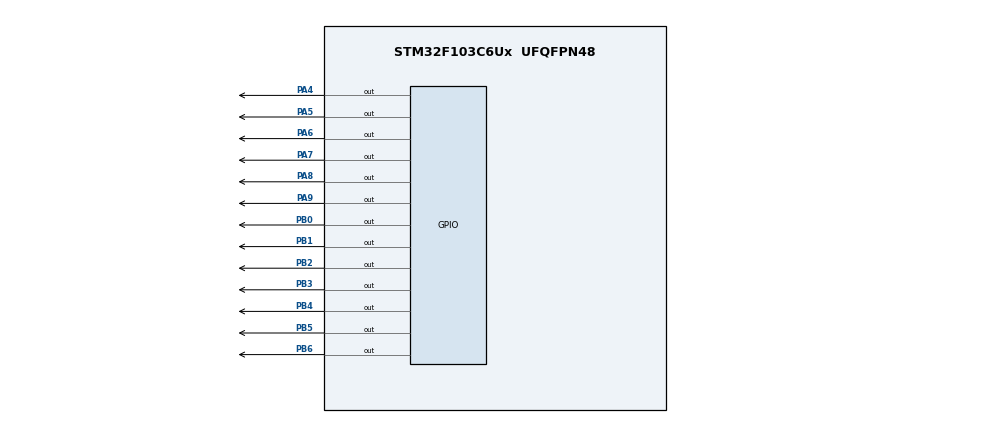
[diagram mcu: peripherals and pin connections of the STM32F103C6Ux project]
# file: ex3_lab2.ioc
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Mcu.Family=STM32F1
Mcu.Name=STM32F103C6Ux
Mcu.Package=UFQFPN48
NVIC.PriorityGroup=NVIC_PRIORITYGROUP_4
NVIC.TIM2_IRQn=true\:0\:0\:false\:false\:true\:true\:true
PA4.Signal=GPIO_Output
PA5.Signal=GPIO_Output
PA6.Signal=GPIO_Output
PA7.Signal=GPIO_Output
PA8.Signal=GPIO_Output
PA9.Signal=GPIO_Output
PB0.Signal=GPIO_Output
PB1.Signal=GPIO_Output
PB2.Signal=GPIO_Output
PB3.Signal=GPIO_Output
PB4.Signal=GPIO_Output
PB5.Signal=GPIO_Output
PB6.Signal=GPIO_Output
ProjectManager.HeapSize=0x200
ProjectManager.StackSize=0x400
ProjectManager.TargetToolchain=STM32CubeIDE
RCC.APB1Freq_Value=8000000
RCC.APB2Freq_Value=8000000
TIM2.Period=9
TIM2.Prescaler=7999
VP_SYS_VS_ND.Mode=No_Debug
VP_TIM2_VS_ClockSourceINT.Mode=Internal
board=custom

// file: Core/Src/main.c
/* USER CODE BEGIN Header */
/**
  ******************************************************************************
  * @file           : main.c
  * @brief          : Main program body
  ******************************************************************************
  * @attention
  *
  * <h2><center>&copy; Copyright (c) 2023 STMicroelectronics.
  * All rights reserved.</center></h2>
  *
  * This software component is licensed by ST under BSD 3-Clause license,
  * the "License"; You may not use this file except in compliance with the
  * License. You may obtain a copy of the License at:
  *                        opensource.org/licenses/BSD-3-Clause
  *
  ******************************************************************************
  */
/* USER CODE END Header */
#include "main.h"

TIM_HandleTypeDef htim2;

void SystemClock_Config(void);
static void MX_GPIO_Init(void);
static void MX_TIM2_Init(void);
void display7SEG(int num);

int main(void)
{

  /* MCU Configuration--------------------------------------------------------*/

  /* Reset of all peripherals, Initializes the Flash interface and the Systick. */
  HAL_Init();

  /* Configure the system clock */
  SystemClock_Config();

  /* Initialize all configured peripherals */
  MX_GPIO_Init();
  MX_TIM2_Init();
  /* USER CODE BEGIN 2 */
HAL_TIM_Base_Start_IT(&htim2);
  /* USER CODE END 2 */

  /* Infinite loop */
  while (1)
  {

  }
}

void SystemClock_Config(void)
{
  RCC_OscInitTypeDef RCC_OscInitStruct = {0};
  RCC_ClkInitTypeDef RCC_ClkInitStruct = {0};

  /** Initializes the RCC Oscillators according to the specified parameters
  * in the RCC_OscInitTypeDef structure.
  */
  RCC_OscInitStruct.OscillatorType = RCC_OSCILLATORTYPE_HSI;
  RCC_OscInitStruct.HSIState = RCC_HSI_ON;
  RCC_OscInitStruct.HSICalibrationValue = RCC_HSICALIBRATION_DEFAULT;
  RCC_OscInitStruct.PLL.PLLState = RCC_PLL_NONE;
  if (HAL_RCC_OscConfig(&RCC_OscInitStruct) != HAL_OK)
  {
    Error_Handler();
  }
  /** Initializes the CPU, AHB and APB buses clocks
  */
  RCC_ClkInitStruct.ClockType = RCC_CLOCKTYPE_HCLK|RCC_CLOCKTYPE_SYSCLK
                              |RCC_CLOCKTYPE_PCLK1|RCC_CLOCKTYPE_PCLK2;
  RCC_ClkInitStruct.SYSCLKSource = RCC_SYSCLKSOURCE_HSI;
  RCC_ClkInitStruct.AHBCLKDivider = RCC_SYSCLK_DIV1;
  RCC_ClkInitStruct.APB1CLKDivider = RCC_HCLK_DIV1;
  RCC_ClkInitStruct.APB2CLKDivider = RCC_HCLK_DIV1;

  if (HAL_RCC_ClockConfig(&RCC_ClkInitStruct, FLASH_LATENCY_0) != HAL_OK)
  {
    Error_Handler();
  }
}

static void MX_TIM2_Init(void)
{

  TIM_ClockConfigTypeDef sClockSourceConfig = {0};
  TIM_MasterConfigTypeDef sMasterConfig = {0};

  htim2.Instance = TIM2;
  htim2.Init.Prescaler = 7999;
  htim2.Init.CounterMode = TIM_COUNTERMODE_UP;
  htim2.Init.Period = 9;
  htim2.Init.ClockDivision = TIM_CLOCKDIVISION_DIV1;
  htim2.Init.AutoReloadPreload = TIM_AUTORELOAD_PRELOAD_DISABLE;
  if (HAL_TIM_Base_Init(&htim2) != HAL_OK)
  {
    Error_Handler();
  }
  sClockSourceConfig.ClockSource = TIM_CLOCKSOURCE_INTERNAL;
  if (HAL_TIM_ConfigClockSource(&htim2, &sClockSourceConfig) != HAL_OK)
  {
    Error_Handler();
  }
  sMasterConfig.MasterOutputTrigger = TIM_TRGO_RESET;
  sMasterConfig.MasterSlaveMode = TIM_MASTERSLAVEMODE_DISABLE;
  if (HAL_TIMEx_MasterConfigSynchronization(&htim2, &sMasterConfig) != HAL_OK)
  {
    Error_Handler();
  }

}

static void MX_GPIO_Init(void)
{
  GPIO_InitTypeDef GPIO_InitStruct = {0};

  /* GPIO Ports Clock Enable */
  __HAL_RCC_GPIOA_CLK_ENABLE();
  __HAL_RCC_GPIOB_CLK_ENABLE();

  /*Configure GPIO pin Output Level */
  HAL_GPIO_WritePin(GPIOA, GPIO_PIN_4|GPIO_PIN_5|GPIO_PIN_6|GPIO_PIN_7
                          |GPIO_PIN_8|GPIO_PIN_9, GPIO_PIN_RESET);

  /*Configure GPIO pin Output Level */
  HAL_GPIO_WritePin(GPIOB, GPIO_PIN_0|GPIO_PIN_1|GPIO_PIN_2|GPIO_PIN_3
                          |GPIO_PIN_4|GPIO_PIN_5|GPIO_PIN_6, GPIO_PIN_RESET);

  /*Configure GPIO pins : PA4 PA5 PA6 PA7
                           PA8 PA9 */
  GPIO_InitStruct.Pin = GPIO_PIN_4|GPIO_PIN_5|GPIO_PIN_6|GPIO_PIN_7
                          |GPIO_PIN_8|GPIO_PIN_9;
  GPIO_InitStruct.Mode = GPIO_MODE_OUTPUT_PP;
  GPIO_InitStruct.Pull = GPIO_NOPULL;
  GPIO_InitStruct.Speed = GPIO_SPEED_FREQ_LOW;
  HAL_GPIO_Init(GPIOA, &GPIO_InitStruct);

  /*Configure GPIO pins : PB0 PB1 PB2 PB3
                           PB4 PB5 PB6 */
  GPIO_InitStruct.Pin = GPIO_PIN_0|GPIO_PIN_1|GPIO_PIN_2|GPIO_PIN_3
                          |GPIO_PIN_4|GPIO_PIN_5|GPIO_PIN_6;
  GPIO_InitStruct.Mode = GPIO_MODE_OUTPUT_PP;
  GPIO_InitStruct.Pull = GPIO_NOPULL;
  GPIO_InitStruct.Speed = GPIO_SPEED_FREQ_LOW;
  HAL_GPIO_Init(GPIOB, &GPIO_InitStruct);

}

/* USER CODE BEGIN 4 */
void display7SEG(int num) {
    char led7seg[10] = {0xC0, 0xF9, 0xA4, 0xB0, 0x99, 0x92, 0x82, 0xF8, 0x80, 0x90};
    for (int i = 0; i < 7; i++) {
        HAL_GPIO_WritePin(GPIOB, GPIO_PIN_0 << i, (led7seg[num] >> i) & 1);
    }
}
int index_led = 0;
int buffer[4] = {1 , 2 , 3 , 4};
void update7SEG ( int index ) {
	switch ( index ) {
		case 0:{
			HAL_GPIO_WritePin(GPIOA, GPIO_PIN_6, 0);
			HAL_GPIO_WritePin(GPIOA, GPIO_PIN_7, 1);
			HAL_GPIO_WritePin(GPIOA, GPIO_PIN_8, 1);
			HAL_GPIO_WritePin(GPIOA, GPIO_PIN_9, 1);
			display7SEG(buffer[0]);
			break;
		}
		case 1:{
			HAL_GPIO_WritePin(GPIOA, GPIO_PIN_6, 1);
			HAL_GPIO_WritePin(GPIOA, GPIO_PIN_7, 0);
			HAL_GPIO_WritePin(GPIOA, GPIO_PIN_8, 1);
			HAL_GPIO_WritePin(GPIOA, GPIO_PIN_9, 1);
			display7SEG(buffer[1]);
			break;
		}
		case 2:{
			HAL_GPIO_WritePin(GPIOA, GPIO_PIN_6, 1);
			HAL_GPIO_WritePin(GPIOA, GPIO_PIN_7, 1);
			HAL_GPIO_WritePin(GPIOA, GPIO_PIN_8, 0);
			HAL_GPIO_WritePin(GPIOA, GPIO_PIN_9, 1);
			display7SEG(buffer[2]);
			break;
		}
		case 3:{
			HAL_GPIO_WritePin(GPIOA, GPIO_PIN_6, 1);
			HAL_GPIO_WritePin(GPIOA, GPIO_PIN_7, 1);
			HAL_GPIO_WritePin(GPIOA, GPIO_PIN_8, 1);
			HAL_GPIO_WritePin(GPIOA, GPIO_PIN_9, 0);
			display7SEG(buffer[3]);
			break;
		}
		default :
			break ;
	}
 }

/* USER CODE BEGIN 4 */
int counter1 = 100;
int counter2 = 25;
int counter3 = 100;
void HAL_TIM_PeriodElapsedCallback(TIM_HandleTypeDef *htim){
	counter1--;
		if ( counter1 <= 0) {
		counter1 = 100;
		HAL_GPIO_TogglePin(GPIOA ,GPIO_PIN_5 );
		}
		counter2--;
		if(counter2<=0){
		  counter2 = 25;

		  if(index_led>3){
			  index_led=0;
		  }
		  update7SEG(index_led++);
		}
		counter3--;
		if(counter3<=0){
			counter3=100;
			HAL_GPIO_TogglePin(GPIOA, GPIO_PIN_4);
		}
}

/* USER CODE END 4 */

void Error_Handler(void)
{
  __disable_irq();
  while (1)
  {
  }
}

/************************ (C) COPYRIGHT STMicroelectronics *****END OF FILE****/
